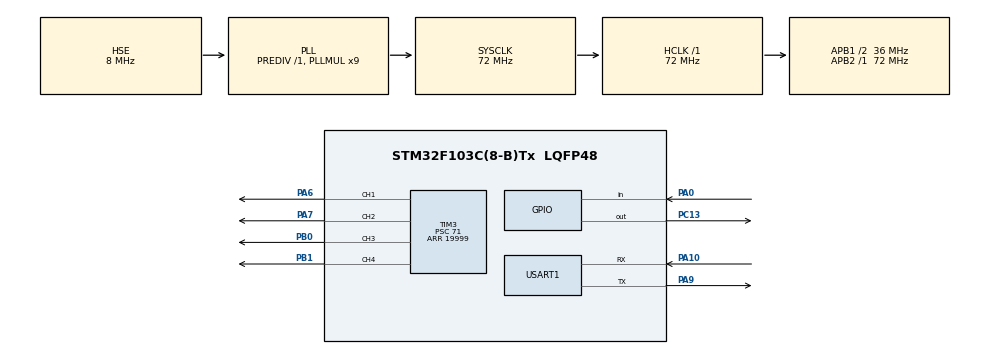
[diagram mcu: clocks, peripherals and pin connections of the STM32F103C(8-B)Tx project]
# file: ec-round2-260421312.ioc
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Mcu.Family=STM32F1
Mcu.Name=STM32F103C(8-B)Tx
Mcu.Package=LQFP48
NVIC.PriorityGroup=NVIC_PRIORITYGROUP_4
PA0-WKUP.GPIO_PuPd=GPIO_PULLUP
PA0-WKUP.Signal=GPIO_Input
PA10.Mode=Asynchronous
PA10.Signal=USART1_RX
PA13.Mode=Serial_Wire
PA13.Signal=SYS_JTMS-SWDIO
PA14.Mode=Serial_Wire
PA14.Signal=SYS_JTCK-SWCLK
PA6.Signal=S_TIM3_CH1
PA7.Signal=S_TIM3_CH2
PA9.Mode=Asynchronous
PA9.Signal=USART1_TX
PB0.Signal=S_TIM3_CH3
PB1.Signal=S_TIM3_CH4
PC13-TAMPER-RTC.Signal=GPIO_Output
PD0-OSC_IN.Mode=HSE-External-Oscillator
PD0-OSC_IN.Signal=RCC_OSC_IN
PD1-OSC_OUT.Mode=HSE-External-Oscillator
PD1-OSC_OUT.Signal=RCC_OSC_OUT
ProjectManager.HeapSize=0x200
ProjectManager.StackSize=0x400
ProjectManager.TargetToolchain=CMake
RCC.AHBFreq_Value=72000000
RCC.APB1CLKDivider=RCC_HCLK_DIV2
RCC.APB1Freq_Value=36000000
RCC.APB1TimFreq_Value=72000000
RCC.APB2Freq_Value=72000000
RCC.APB2TimFreq_Value=72000000
RCC.HCLKFreq_Value=72000000
RCC.PLLMUL=RCC_PLL_MUL9
RCC.PLLSourceVirtual=RCC_PLLSOURCE_HSE
RCC.SYSCLKFreq_VALUE=72000000
RCC.SYSCLKSource=RCC_SYSCLKSOURCE_PLLCLK
RCC.USBFreq_Value=72000000
SH.S_TIM3_CH1.0=TIM3_CH1,PWM Generation1 CH1
SH.S_TIM3_CH2.0=TIM3_CH2,PWM Generation2 CH2
SH.S_TIM3_CH3.0=TIM3_CH3,PWM Generation3 CH3
SH.S_TIM3_CH4.0=TIM3_CH4,PWM Generation4 CH4
TIM3.AutoReloadPreload=TIM_AUTORELOAD_PRELOAD_ENABLE
TIM3.Channel-PWM\ Generation1\ CH1=TIM_CHANNEL_1
TIM3.Channel-PWM\ Generation2\ CH2=TIM_CHANNEL_2
TIM3.Channel-PWM\ Generation3\ CH3=TIM_CHANNEL_3
TIM3.Channel-PWM\ Generation4\ CH4=TIM_CHANNEL_4
TIM3.Period=19999
TIM3.Prescaler=71
TIM3.Pulse-PWM\ Generation1\ CH1=1500
TIM3.Pulse-PWM\ Generation2\ CH2=1500
TIM3.Pulse-PWM\ Generation3\ CH3=1500
TIM3.Pulse-PWM\ Generation4\ CH4=1500
USART1.VirtualMode=VM_ASYNC
board=custom

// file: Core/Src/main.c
/* USER CODE BEGIN Header */
/**
  ******************************************************************************
  * @file           : main.c
  * @brief          : Main program body
  ******************************************************************************
  * @attention
  *
  * Copyright (c) 2026 STMicroelectronics.
  * All rights reserved.
  *
  * This software is licensed under terms that can be found in the LICENSE file
  * in the root directory of this software component.
  * If no LICENSE file comes with this software, it is provided AS-IS.
  *
  ******************************************************************************
  */
/* USER CODE END Header */
#include "main.h"
#include "tim.h"
#include "usart.h"
#include "gpio.h"

/* USER CODE BEGIN Includes */
#include <stdio.h>   /* T0 自检信息打印用；底层经 syscalls.c 的 _write 转到 __io_putchar */
/* USER CODE END Includes */

/* USER CODE BEGIN PTD */

/**
  * @brief 一路舵机的参数与运行状态
  * @note  把"哪路定时器 / 哪个通道 / 行程范围 / 当前与目标脉宽"打包，
  *        扩到四路时只是数组长度不同，控制代码一行都不用改。
  */
typedef struct
{
  TIM_HandleTypeDef *htim;          /* 所属定时器句柄 */
  uint32_t           channel;       /* 通道号：TIM_CHANNEL_x */
  uint16_t           pulse_min;     /* 下限脉宽 µs */
  uint16_t           pulse_max;     /* 上限脉宽 µs */
  uint16_t           pulse_target;  /* 目标脉宽 µs */
  uint16_t           pulse_now;     /* 当前已输出脉宽 µs */
} Servo_t;

/* USER CODE END PTD */

/* USER CODE BEGIN PD */

/* ---------- 工程标识 ---------- */
#define APP_NAME            "ec-round2-260421312"   /* T0 自检打印用 */
#define UART_TX_TIMEOUT_MS  10U                     /* 单字节发送超时，防止串口异常时卡死 */

/* ---------- T1 舵机参数：所有可调量集中在此段，答辩时指这里说 ---------- */
#define SERVO_PWM_FREQ_HZ      50U      /* 目标 50Hz → 周期 20ms（CubeMX: PSC=71, ARR=19999） */
#define SERVO_PULSE_MIN_US     500U     /* 行程下限脉宽 */
#define SERVO_PULSE_MAX_US     2500U    /* 行程上限脉宽 */
#define SERVO_PULSE_MID_US     1500U    /* 中位脉宽 */
#define SERVO_ANGLE_MIN_DEG    0.0f     /* 与 MIN_US 对应的角度 */
#define SERVO_ANGLE_MAX_DEG    180.0f   /* 与 MAX_US 对应的角度 */
#define SERVO_TICK_MS          20U      /* 刷新节拍，与 PWM 周期一致 */
#define SERVO_SLEW_US_PER_TICK 25U      /* 每拍脉宽最大变化量：限速，抑制过冲与啸叫 */
#define SERVO_DEMO_STEP_MS     1000U    /* 自测时每个位置停留时间 */

/* 板载蓝灯（PC13，灌电流接法，低电平点亮）：T1 阶段只熄灭，不再参与逻辑 */
#define LED_PORT            GPIOC
#define LED_PIN             GPIO_PIN_13
#define LED_OFF()           HAL_GPIO_WritePin(LED_PORT, LED_PIN, GPIO_PIN_SET)

/* 当前接了几路舵机。TIM3 四通道全部启用：PA6/PA7/PB0/PB1 */
#define SERVO_COUNT         4U

/* USER CODE END PD */

/* USER CODE BEGIN PV */
/* 舵机表：四路全部挂在 TIM3，引脚 PA6/PA7/PB0/PB1 对应 CH1~CH4。
 * 顺序即后续机械臂的关节顺序：Q1 底座、Q2 肩、Q3 肘、Q4 夹爪 */
static Servo_t g_servos[SERVO_COUNT] =
{
  { &htim3, TIM_CHANNEL_1, SERVO_PULSE_MIN_US, SERVO_PULSE_MAX_US,
    SERVO_PULSE_MID_US, SERVO_PULSE_MID_US },
  { &htim3, TIM_CHANNEL_2, SERVO_PULSE_MIN_US, SERVO_PULSE_MAX_US,
    SERVO_PULSE_MID_US, SERVO_PULSE_MID_US },
  { &htim3, TIM_CHANNEL_3, SERVO_PULSE_MIN_US, SERVO_PULSE_MAX_US,
    SERVO_PULSE_MID_US, SERVO_PULSE_MID_US },
  { &htim3, TIM_CHANNEL_4, SERVO_PULSE_MIN_US, SERVO_PULSE_MAX_US,
    SERVO_PULSE_MID_US, SERVO_PULSE_MID_US },
};

static uint32_t g_servo_tick = 0U;   /* 上一次脉宽推进时刻 */
static uint32_t g_demo_tick  = 0U;   /* 自测换位时刻 */
static uint8_t  g_demo_step  = 0U;   /* 自测位置序号 */

/* 自测序列：90° / 135° / 45°，按 0~180° 线性映射正好是 1500 / 2000 / 1000 µs */
static const float g_demo_angle[3] = { 90.0f, 135.0f, 45.0f };
/* USER CODE END PV */

void SystemClock_Config(void);

/* USER CODE BEGIN 0 */

/**
  * @brief 读取并解释本次复位原因
  * @note  F1 系列上电时 POR 与 NRST 标志常同时置位，故先判 POR，
  *        否则上电会被误报为"按键复位"。读完后由调用者清除标志。
  */
static const char *Reset_Cause_Str(void)
{
  if (__HAL_RCC_GET_FLAG(RCC_FLAG_PORRST)   != 0U) return "上电复位(POR)";
  if (__HAL_RCC_GET_FLAG(RCC_FLAG_PINRST)   != 0U) return "NRST 引脚复位(复位键/下载器)";
  if (__HAL_RCC_GET_FLAG(RCC_FLAG_SFTRST)   != 0U) return "软件复位(SFTRST)";
  if (__HAL_RCC_GET_FLAG(RCC_FLAG_IWDGRST)  != 0U) return "独立看门狗(IWDG)";
  if (__HAL_RCC_GET_FLAG(RCC_FLAG_WWDGRST)  != 0U) return "窗口看门狗(WWDG)";
  if (__HAL_RCC_GET_FLAG(RCC_FLAG_LPWRRST)  != 0U) return "低功耗复位(LPWR)";
  return "未知(标志已被清除)";
}

/**
  * @brief T0 自检信息：工程名、时钟频率、复位原因
  */
static void T0_PrintBanner(void)
{
  uint32_t sysclk = HAL_RCC_GetSysClockFreq();
  uint32_t hclk   = HAL_RCC_GetHCLKFreq();
  uint32_t pclk1  = HAL_RCC_GetPCLK1Freq();
  uint32_t pclk2  = HAL_RCC_GetPCLK2Freq();

  printf("\r\n========== T0 板级自检 ==========\r\n");
  printf("工程名   : %s\r\n", APP_NAME);
  printf("芯片     : STM32F103x8 (Cortex-M3)\r\n");
  printf("系统时钟 : %lu Hz (%lu MHz)\r\n",
         (unsigned long)sysclk, (unsigned long)(sysclk / 1000000U));
  printf("HCLK     : %lu Hz\r\n", (unsigned long)hclk);
  printf("PCLK1    : %lu Hz (APB1)\r\n", (unsigned long)pclk1);
  printf("PCLK2    : %lu Hz (APB2)\r\n", (unsigned long)pclk2);
  printf("复位原因 : %s\r\n", Reset_Cause_Str());
  printf("编译时间 : %s %s\r\n", __DATE__, __TIME__);
  printf("================================\r\n");
}

/**
  * @brief 把脉宽写进比较寄存器（真正输出到引脚的动作）
  * @note  "µs 直接等于 CCR" 的原因：定时器计数频率被配成 1MHz
  *        （72MHz / (PSC+1=72) = 1MHz），1 个计数就是 1µs，
  *        所以 CCR = 1500 即输出 1500µs 高电平。这是"分辨率优于 1µs"的来源。
  */
static void Servo_ApplyPulse(Servo_t *s, uint16_t pulse_us)
{
  __HAL_TIM_SET_COMPARE(s->htim, s->channel, pulse_us);
}

/**
  * @brief 角度 → 脉宽 线性映射（含角度钳位）
  * @param deg 目标角度，超出 [0°, 180°] 时被钳位
  * @retval 对应的脉宽 µs
  */
static uint16_t Servo_AngleToPulse(const Servo_t *s, float deg)
{
  float ratio;

  if (deg < SERVO_ANGLE_MIN_DEG) deg = SERVO_ANGLE_MIN_DEG;
  if (deg > SERVO_ANGLE_MAX_DEG) deg = SERVO_ANGLE_MAX_DEG;

  ratio = (deg - SERVO_ANGLE_MIN_DEG) / (SERVO_ANGLE_MAX_DEG - SERVO_ANGLE_MIN_DEG);

  /* +0.5f 是四舍五入，避免浮点截断带来最多 1µs 的系统性偏差 */
  return (uint16_t)((float)s->pulse_min + ratio * (float)(s->pulse_max - s->pulse_min) + 0.5f);
}

/**
  * @brief 设定目标脉宽：先钳位到行程范围，再只记录不输出
  * @note  真正的输出由 Servo_Task() 每 20ms 推进一次，
  *        这样大角度跳变也是"分步走过去"，不会瞬间给出阶跃指令。
  */
static void Servo_SetPulse(Servo_t *s, uint16_t pulse_us)
{
  if (pulse_us < s->pulse_min) pulse_us = s->pulse_min;
  if (pulse_us > s->pulse_max) pulse_us = s->pulse_max;

  s->pulse_target = pulse_us;
}

/**
  * @brief 设定目标角度（内部换算成脉宽）
  */
static void Servo_SetAngle(Servo_t *s, float deg)
{
  Servo_SetPulse(s, Servo_AngleToPulse(s, deg));
}

/**
  * @brief 每 SERVO_TICK_MS 调用一次：把当前脉宽向目标推进一步
  * @note  限速（SLEW）有三个作用：
  *        1) 抑制过冲——指令速度低于舵机机械最大速度，舵机始终"追得上"；
  *        2) 减少电流冲击——四路同时大角度动作时不会把电源瞬间拉垮；
  *        3) 降低塑料齿被猛拽的磨损。
  */
static void Servo_Task(void)
{
  uint8_t i;

  for (i = 0U; i < SERVO_COUNT; i++)
  {
    Servo_t *s = &g_servos[i];

    if (s->pulse_now < s->pulse_target)
    {
      uint16_t step = (uint16_t)(s->pulse_target - s->pulse_now);
      s->pulse_now += (step > SERVO_SLEW_US_PER_TICK) ? SERVO_SLEW_US_PER_TICK : step;
      Servo_ApplyPulse(s, s->pulse_now);
    }
    else if (s->pulse_now > s->pulse_target)
    {
      uint16_t step = (uint16_t)(s->pulse_now - s->pulse_target);
      s->pulse_now -= (step > SERVO_SLEW_US_PER_TICK) ? SERVO_SLEW_US_PER_TICK : step;
      Servo_ApplyPulse(s, s->pulse_now);
    }
    else
    {
      /* 已到位：不重复写寄存器，避免无意义的空转 */
    }
  }
}

/**
  * @brief 启动四路 PWM，并统一给中位脉宽
  * @note  上电顺序很重要：先让四路都输出 1.5ms 再让舵机上电，
  *        否则舵机可能以未知脉宽上电而瞬间甩到极限位置。
  */
static void Servo_InitAll(void)
{
  uint8_t i;

  for (i = 0U; i < SERVO_COUNT; i++)
  {
    HAL_TIM_PWM_Start(g_servos[i].htim, g_servos[i].channel);
    Servo_ApplyPulse(&g_servos[i], SERVO_PULSE_MID_US);
  }
}

/**
  * @brief 四路统一设定同一个目标角度（联调前确认通道顺序用）
  */
static void Servo_SetAllAngle(float deg)
{
  uint8_t i;

  for (i = 0U; i < SERVO_COUNT; i++)
  {
    Servo_SetAngle(&g_servos[i], deg);
  }
}

/* USER CODE END 0 */

int main(void)
{

  /* MCU Configuration--------------------------------------------------------*/

  /* Reset of all peripherals, Initializes the Flash interface and the Systick. */
  HAL_Init();

  /* Configure the system clock */
  SystemClock_Config();

  /* Initialize all configured peripherals */
  MX_GPIO_Init();
  MX_USART1_UART_Init();
  MX_TIM3_Init();
  /* USER CODE BEGIN 2 */
  LED_OFF();                                    /* 蓝灯常灭：T1 阶段不再闪烁 */
  Servo_InitAll();                              /* 四路 PWM 全部启动，先给中位 1.5ms */
  g_servo_tick = HAL_GetTick();
  g_demo_tick  = g_servo_tick;
  T0_PrintBanner();               /* T0：开机打印自检信息（工程名/时钟/复位原因） */
  __HAL_RCC_CLEAR_RESET_FLAGS();  /* 读完即清，保证下次复位原因不被旧标志污染 */
  /* USER CODE END 2 */

  /* Infinite loop */
  while (1)
  {

    /* USER CODE BEGIN 3 */

    uint32_t now = HAL_GetTick();

    /* ---------- 1. 每 20ms 推进一次脉宽（限速，抑制过冲） ---------- */
    if ((now - g_servo_tick) >= SERVO_TICK_MS)
    {
      g_servo_tick = now;
      Servo_Task();
    }

    /* ---------- 2. 自测：每 1s 换一个目标位置，1.5ms → 2.0ms → 1.0ms 循环 ---------- */
    if ((now - g_demo_tick) >= SERVO_DEMO_STEP_MS)
    {
      g_demo_tick = now;
      g_demo_step = (uint8_t)((g_demo_step + 1U) % 3U);
      Servo_SetAllAngle(g_demo_angle[g_demo_step]);
      printf("[T1] 四路目标角度 %d deg -> 脉宽 %lu us\r\n",
             (int)g_demo_angle[g_demo_step],
             (unsigned long)Servo_AngleToPulse(&g_servos[0], g_demo_angle[g_demo_step]));
    }

  /* USER CODE END 3 */
  }
}

void SystemClock_Config(void)
{
  RCC_OscInitTypeDef RCC_OscInitStruct = {0};
  RCC_ClkInitTypeDef RCC_ClkInitStruct = {0};

  /** Initializes the RCC Oscillators according to the specified parameters
  * in the RCC_OscInitTypeDef structure.
  */
  RCC_OscInitStruct.OscillatorType = RCC_OSCILLATORTYPE_HSE;
  RCC_OscInitStruct.HSEState = RCC_HSE_ON;
  RCC_OscInitStruct.HSEPredivValue = RCC_HSE_PREDIV_DIV1;
  RCC_OscInitStruct.HSIState = RCC_HSI_ON;
  RCC_OscInitStruct.PLL.PLLState = RCC_PLL_ON;
  RCC_OscInitStruct.PLL.PLLSource = RCC_PLLSOURCE_HSE;
  RCC_OscInitStruct.PLL.PLLMUL = RCC_PLL_MUL9;
  if (HAL_RCC_OscConfig(&RCC_OscInitStruct) != HAL_OK)
  {
    Error_Handler();
  }

  /** Initializes the CPU, AHB and APB buses clocks
  */
  RCC_ClkInitStruct.ClockType = RCC_CLOCKTYPE_HCLK|RCC_CLOCKTYPE_SYSCLK
                              |RCC_CLOCKTYPE_PCLK1|RCC_CLOCKTYPE_PCLK2;
  RCC_ClkInitStruct.SYSCLKSource = RCC_SYSCLKSOURCE_PLLCLK;
  RCC_ClkInitStruct.AHBCLKDivider = RCC_SYSCLK_DIV1;
  RCC_ClkInitStruct.APB1CLKDivider = RCC_HCLK_DIV2;
  RCC_ClkInitStruct.APB2CLKDivider = RCC_HCLK_DIV1;

  if (HAL_RCC_ClockConfig(&RCC_ClkInitStruct, FLASH_LATENCY_2) != HAL_OK)
  {
    Error_Handler();
  }
}

/* USER CODE BEGIN 4 */

/**
  * @brief printf 的最底层输出：逐字节写 USART1
  * @note  syscalls.c 中的 _write() 会调用本函数（原声明为 weak），
  *        因此这里实现即可让 printf 走串口，无需改动生成文件。
  *        __io_putchar 与 _write 的签名必须与 syscalls.c 一致。
  */
int __io_putchar(int ch)
{
  uint8_t byte = (uint8_t)ch;
  (void)HAL_UART_Transmit(&huart1, &byte, 1U, UART_TX_TIMEOUT_MS);
  return ch;
}

/* USER CODE END 4 */

void Error_Handler(void)
{
  __disable_irq();
  while (1)
  {
  }
}
